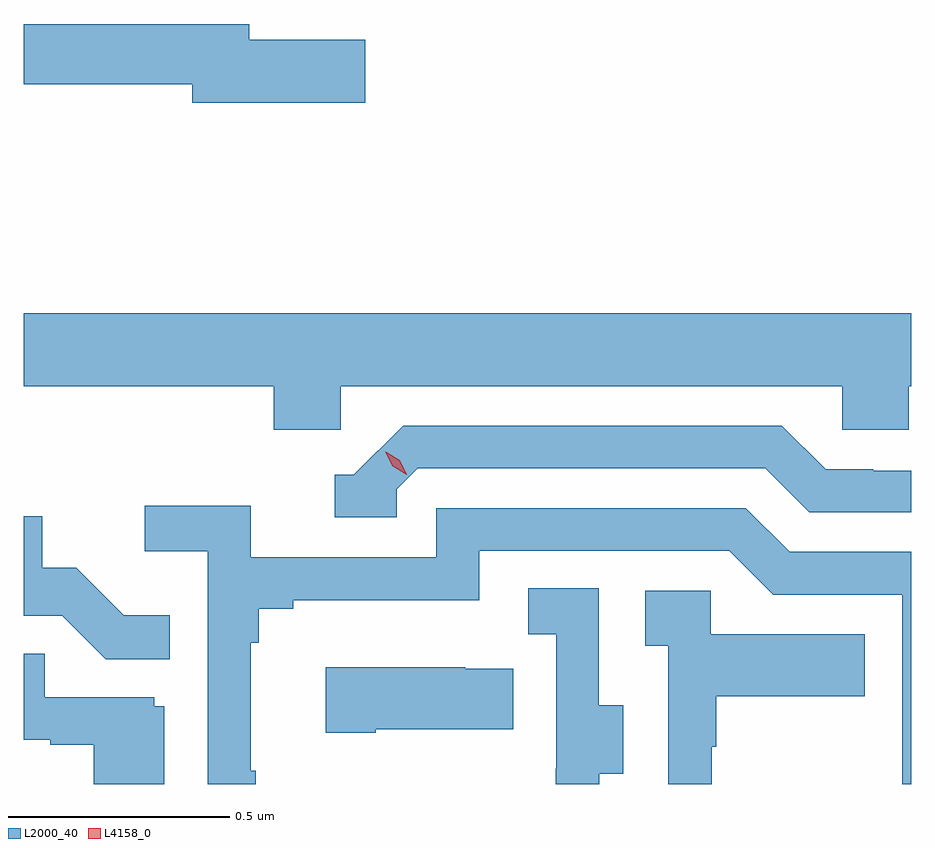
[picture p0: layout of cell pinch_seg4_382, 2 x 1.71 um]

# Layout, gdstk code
import gdstk
lib = gdstk.Library(unit=1e-6, precision=1e-09)
def P(c, l, *ps):  # polygons
    for p in ps: c.add(gdstk.Polygon(p, *l))
L2000_40 = (2000, 40)
L4158_0 = (4158, 0)

pinch_seg4_382 = lib.new_cell('pinch_seg4_382')
P(pinch_seg4_382, L2000_40, [(981.805,770.96),(981.544,770.96),(981.544,770.996),(981.036,770.996),(981.036,770.86),(981.416,770.86),(981.416,770.818),(981.805,770.818)],
  [(981.75,770.18),(982.881,770.18),(982.881,770.082),(983.031,770.082),(983.031,770.18),(983.036,770.18),(983.036,770.344),(981.036,770.344),(981.036,770.18),(981.599,770.18),(981.599,770.082),(981.75,770.082)],
  [(981.876,769.947),(981.924,769.995),(982.707,769.995),(982.806,769.896),(983.036,769.896),(983.036,769.989),(982.95,769.989),(982.95,769.992),(982.843,769.992),(982.744,770.091),(981.891,770.091),(981.78,769.98),(981.737,769.98),(981.737,769.884),(981.876,769.884)],
  [(981.559,769.313),(981.547,769.313),(981.547,769.601),(981.566,769.601),(981.566,769.678),(981.643,769.678),(981.643,769.697),(982.062,769.697),(982.062,769.809),(982.626,769.809),(982.725,769.71),(983.016,769.71),(983.016,769.283),(983.036,769.283),(983.036,769.806),(982.762,769.806),(982.663,769.905),(981.966,769.905),(981.966,769.794),(981.548,769.794),(981.548,769.91),(981.309,769.91),(981.309,769.808),(981.45,769.808),(981.45,769.283),(981.559,769.283)],
  [(981.365,769.663),(981.261,769.663),(981.154,769.77),(981.078,769.77),(981.078,769.887),(981.036,769.887),(981.036,769.662),(981.123,769.662),(981.221,769.564),(981.365,769.564)],
  [(982.333,769.306),(982.387,769.306),(982.387,769.461),(982.332,769.461),(982.332,769.724),(982.173,769.724),(982.173,769.621),(982.236,769.621),(982.236,769.317),(982.235,769.317),(982.235,769.283),(982.333,769.283)],
  [(982.587,769.367),(982.597,769.367),(982.597,769.481),(982.931,769.481),(982.931,769.621),(982.584,769.621),(982.584,769.719),(982.437,769.719),(982.437,769.595),(982.488,769.595),(982.488,769.283),(982.587,769.283)],
  [(981.352,769.458),(981.33,769.458),(981.33,769.479),(981.083,769.479),(981.083,769.577),(981.036,769.577),(981.036,769.383),(981.095,769.383),(981.095,769.371),(981.194,769.371),(981.194,769.283),(981.352,769.283)],
  [(981.829,769.406),(982.139,769.406),(982.139,769.543),(982.031,769.543),(982.031,769.546),(981.717,769.546),(981.717,769.399),(981.829,769.399)])
P(pinch_seg4_382, L4158_0, [(981.899,769.98),(981.868,769.999),(981.851,770.032),(981.851,770.032),(981.852,770.032),(981.883,770.013),(981.899,769.98),(981.899,769.98)])

lib.write_gds('pinch_seg4_382.gds')
